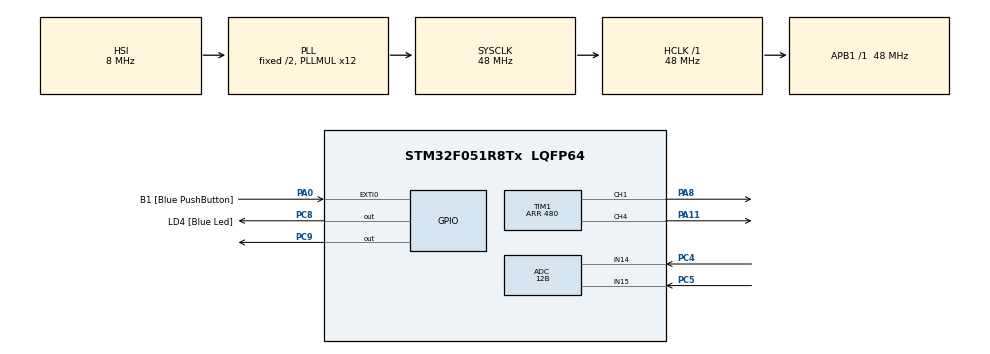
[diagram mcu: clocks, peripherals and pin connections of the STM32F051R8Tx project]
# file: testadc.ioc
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ADC.ClockPrescaler=ADC_CLOCK_ASYNC_DIV1
ADC.ContinuousConvMode=DISABLE
ADC.DMAContinuousRequests=DISABLE
ADC.DataAlign=ADC_DATAALIGN_RIGHT
ADC.DiscontinuousConvMode=ENABLE
ADC.EOCSelection=ADC_EOC_SINGLE_CONV
ADC.EnableAnalogWatchDog=false
ADC.ExternalTrigConv=ADC_EXTERNALTRIGCONV_T1_TRGO
ADC.ExternalTrigConvEdge=ADC_EXTERNALTRIGCONVEDGE_RISING
ADC.LowPowerAutoPowerOff=DISABLE
ADC.LowPowerAutoWait=DISABLE
ADC.Overrun=ADC_OVR_DATA_PRESERVED
ADC.Resolution=ADC_RESOLUTION_12B
ADC.SamplingTime=ADC_SAMPLETIME_239CYCLES_5
ADC.ScanConvMode=ADC_SCAN_DIRECTION_FORWARD
Mcu.Family=STM32F0
Mcu.Name=STM32F051R8Tx
Mcu.Package=LQFP64
NVIC.ADC1_COMP_IRQn=true\:0\:0\:false\:false\:true\:true
NVIC.TIM1_CC_IRQn=true\:0\:0\:false\:false\:true\:true
PA0.GPIO_Label=B1 [Blue PushButton]
PA0.GPIO_ModeDefaultEXTI=GPIO_MODE_EVT_RISING
PA0.Signal=GPXTI0
PA11.Signal=S_TIM1_CH4
PA13.GPIO_Label=SWDIO
PA13.Mode=Serial_Wire
PA13.Signal=SYS_SWDIO
PA14.GPIO_Label=SWCLK
PA14.Mode=Serial_Wire
PA14.Signal=SYS_SWCLK
PA8.Signal=S_TIM1_CH1
PC4.Mode=IN14
PC4.Signal=ADC_IN14
PC5.Mode=IN15
PC5.Signal=ADC_IN15
PC8.GPIO_Label=LD4 [Blue Led]
PC8.Signal=GPIO_Output
PC9.Signal=GPIO_Output
ProjectManager.HeapSize=0x200
ProjectManager.StackSize=0x400
ProjectManager.TargetToolchain=SW4STM32
RCC.AHBFreq_Value=48000000
RCC.APB1Freq_Value=48000000
RCC.APB1TimFreq_Value=48000000
RCC.HCLKFreq_Value=48000000
RCC.PLLMUL=RCC_PLL_MUL12
RCC.SYSCLKFreq_VALUE=48000000
RCC.SYSCLKSource=RCC_SYSCLKSOURCE_PLLCLK
SH.S_TIM1_CH1.0=TIM1_CH1,PWM Generation1 CH1
SH.S_TIM1_CH4.0=TIM1_CH4,Output Compare4 CH4
TIM1.Channel-Output\ Compare4\ CH4=TIM_CHANNEL_4
TIM1.Channel-PWM\ Generation1\ CH1=TIM_CHANNEL_1
TIM1.OCMode_4=TIM_OCMODE_TOGGLE
TIM1.OCPolarity_4=TIM_OCPOLARITY_LOW
TIM1.Period=480
TIM1.Pulse-Output\ Compare4\ CH4=1000
TIM1.TIM_MasterOutputTrigger=TIM_TRGO_OC4REF
TIM2.Period=480
TIM2.TIM_MasterOutputTrigger=TIM_TRGO_UPDATE
TIM2.TIM_MasterSlaveMode=TIM_MASTERSLAVEMODE_ENABLE
VP_TIM1_VS_ClockSourceINT.Mode=Internal
VP_TIM2_VS_ClockSourceINT.Mode=Internal
board=STM32F0DISCOVERY

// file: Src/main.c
/**
  ******************************************************************************
  * @file           : main.c
  * @brief          : Main program body
  ******************************************************************************
  ** This notice applies to any and all portions of this file
  * that are not between comment pairs USER CODE BEGIN and
  * USER CODE END. Other portions of this file, whether
  * inserted by the user or by software development tools
  * are owned by their respective copyright owners.
  *
  * COPYRIGHT(c) 2018 STMicroelectronics
  *
  * Redistribution and use in source and binary forms, with or without modification,
  * are permitted provided that the following conditions are met:
  *   1. Redistributions of source code must retain the above copyright notice,
  *      this list of conditions and the following disclaimer.
  *   2. Redistributions in binary form must reproduce the above copyright notice,
  *      this list of conditions and the following disclaimer in the documentation
  *      and/or other materials provided with the distribution.
  *   3. Neither the name of STMicroelectronics nor the names of its contributors
  *      may be used to endorse or promote products derived from this software
  *      without specific prior written permission.
  *
  * THIS SOFTWARE IS PROVIDED BY THE COPYRIGHT HOLDERS AND CONTRIBUTORS "AS IS"
  * AND ANY EXPRESS OR IMPLIED WARRANTIES, INCLUDING, BUT NOT LIMITED TO, THE
  * IMPLIED WARRANTIES OF MERCHANTABILITY AND FITNESS FOR A PARTICULAR PURPOSE ARE
  * DISCLAIMED. IN NO EVENT SHALL THE COPYRIGHT HOLDER OR CONTRIBUTORS BE LIABLE
  * FOR ANY DIRECT, INDIRECT, INCIDENTAL, SPECIAL, EXEMPLARY, OR CONSEQUENTIAL
  * DAMAGES (INCLUDING, BUT NOT LIMITED TO, PROCUREMENT OF SUBSTITUTE GOODS OR
  * SERVICES; LOSS OF USE, DATA, OR PROFITS; OR BUSINESS INTERRUPTION) HOWEVER
  * CAUSED AND ON ANY THEORY OF LIABILITY, WHETHER IN CONTRACT, STRICT LIABILITY,
  * OR TORT (INCLUDING NEGLIGENCE OR OTHERWISE) ARISING IN ANY WAY OUT OF THE USE
  * OF THIS SOFTWARE, EVEN IF ADVISED OF THE POSSIBILITY OF SUCH DAMAGE.
  *
  ******************************************************************************
  */
#include "main.h"
#include "stm32f0xx_hal.h"

ADC_HandleTypeDef hadc;

TIM_HandleTypeDef htim1;
TIM_HandleTypeDef htim2;

/* USER CODE BEGIN PV */
/* Private variables ---------------------------------------------------------*/

uint16_t ADC_RAW[18];
uint8_t adcindex=0;
uint16_t duty=0;
/* USER CODE END PV */

void SystemClock_Config(void);
static void MX_GPIO_Init(void);
static void MX_ADC_Init(void);
static void MX_TIM2_Init(void);
static void MX_TIM1_Init(void);

void HAL_TIM_MspPostInit(TIM_HandleTypeDef *htim);

/* USER CODE BEGIN PFP */
/* Private function prototypes -----------------------------------------------*/

/* USER CODE END PFP */

/* USER CODE BEGIN 0 */

void HAL_ADC_ConvCpltCallback(ADC_HandleTypeDef* hadc)
{
	if(__HAL_ADC_GET_FLAG(hadc,ADC_FLAG_EOC))
	{
//		HAL_GPIO_TogglePin(GPIOC, GPIO_PIN_9);
		ADC_RAW[adcindex] = HAL_ADC_GetValue(hadc);
		adcindex++;
	}
	if(__HAL_ADC_GET_FLAG(hadc,ADC_FLAG_EOS))
	{
		adcindex=0;
	}
}

void HAL_TIM_PWM_PulseFinishedCallback(TIM_HandleTypeDef *htim)
{

}

void HAL_TIM_IC_CaptureCallback(TIM_HandleTypeDef *htim)
{
	HAL_GPIO_TogglePin(GPIOC, GPIO_PIN_9);
}
/* USER CODE END 0 */

int main(void)
{

  /* MCU Configuration----------------------------------------------------------*/

  /* Reset of all peripherals, Initializes the Flash interface and the Systick. */
  HAL_Init();

  /* Configure the system clock */
  SystemClock_Config();

  /* Initialize all configured peripherals */
  MX_GPIO_Init();
  MX_ADC_Init();
  MX_TIM2_Init();
  MX_TIM1_Init();
  /* USER CODE BEGIN 2 */
  HAL_TIM_Base_Start(&htim2);
  HAL_ADC_Start_IT(&hadc);
  HAL_TIM_PWM_Start(&htim1,TIM_CHANNEL_1);
  HAL_TIM_OC_Start_IT(&htim1,TIM_CHANNEL_4);
  __HAL_TIM_SET_COMPARE(&htim1,TIM_CHANNEL_1,10);
  __HAL_TIM_SET_COMPARE(&htim1,TIM_CHANNEL_4,1);
  duty=10;
  /* USER CODE END 2 */

  /* Infinite loop */
  /* USER CODE BEGIN WHILE */
  while (1)
  {
//	  HAL_ADC_Start_IT(&hadc);
  /* USER CODE END WHILE */

  }

}

void SystemClock_Config(void)
{

  RCC_OscInitTypeDef RCC_OscInitStruct;
  RCC_ClkInitTypeDef RCC_ClkInitStruct;

    /**Initializes the CPU, AHB and APB busses clocks
    */
  RCC_OscInitStruct.OscillatorType = RCC_OSCILLATORTYPE_HSI|RCC_OSCILLATORTYPE_HSI14;
  RCC_OscInitStruct.HSIState = RCC_HSI_ON;
  RCC_OscInitStruct.HSI14State = RCC_HSI14_ON;
  RCC_OscInitStruct.HSICalibrationValue = 16;
  RCC_OscInitStruct.HSI14CalibrationValue = 16;
  RCC_OscInitStruct.PLL.PLLState = RCC_PLL_ON;
  RCC_OscInitStruct.PLL.PLLSource = RCC_PLLSOURCE_HSI;
  RCC_OscInitStruct.PLL.PLLMUL = RCC_PLL_MUL12;
  RCC_OscInitStruct.PLL.PREDIV = RCC_PREDIV_DIV1;
  if (HAL_RCC_OscConfig(&RCC_OscInitStruct) != HAL_OK)
  {
    _Error_Handler(__FILE__, __LINE__);
  }

    /**Initializes the CPU, AHB and APB busses clocks
    */
  RCC_ClkInitStruct.ClockType = RCC_CLOCKTYPE_HCLK|RCC_CLOCKTYPE_SYSCLK
                              |RCC_CLOCKTYPE_PCLK1;
  RCC_ClkInitStruct.SYSCLKSource = RCC_SYSCLKSOURCE_PLLCLK;
  RCC_ClkInitStruct.AHBCLKDivider = RCC_SYSCLK_DIV1;
  RCC_ClkInitStruct.APB1CLKDivider = RCC_HCLK_DIV1;

  if (HAL_RCC_ClockConfig(&RCC_ClkInitStruct, FLASH_LATENCY_1) != HAL_OK)
  {
    _Error_Handler(__FILE__, __LINE__);
  }

    /**Configure the Systick interrupt time
    */
  HAL_SYSTICK_Config(HAL_RCC_GetHCLKFreq()/1000);

    /**Configure the Systick
    */
  HAL_SYSTICK_CLKSourceConfig(SYSTICK_CLKSOURCE_HCLK);

  /* SysTick_IRQn interrupt configuration */
  HAL_NVIC_SetPriority(SysTick_IRQn, 0, 0);
}

/* ADC init function */
static void MX_ADC_Init(void)
{

  ADC_ChannelConfTypeDef sConfig;

    /**Configure the global features of the ADC (Clock, Resolution, Data Alignment and number of conversion)
    */
  hadc.Instance = ADC1;
  hadc.Init.ClockPrescaler = ADC_CLOCK_ASYNC_DIV1;
  hadc.Init.Resolution = ADC_RESOLUTION_12B;
  hadc.Init.DataAlign = ADC_DATAALIGN_RIGHT;
  hadc.Init.ScanConvMode = ADC_SCAN_DIRECTION_FORWARD;
  hadc.Init.EOCSelection = ADC_EOC_SINGLE_CONV;
  hadc.Init.LowPowerAutoWait = DISABLE;
  hadc.Init.LowPowerAutoPowerOff = DISABLE;
  hadc.Init.ContinuousConvMode = DISABLE;
  hadc.Init.DiscontinuousConvMode = ENABLE;
  hadc.Init.ExternalTrigConv = ADC_EXTERNALTRIGCONV_T1_TRGO;
  hadc.Init.ExternalTrigConvEdge = ADC_EXTERNALTRIGCONVEDGE_RISING;
  hadc.Init.DMAContinuousRequests = DISABLE;
  hadc.Init.Overrun = ADC_OVR_DATA_PRESERVED;
  if (HAL_ADC_Init(&hadc) != HAL_OK)
  {
    _Error_Handler(__FILE__, __LINE__);
  }

    /**Configure for the selected ADC regular channel to be converted.
    */
  sConfig.Channel = ADC_CHANNEL_13;
  sConfig.Rank = ADC_RANK_CHANNEL_NUMBER;
  sConfig.SamplingTime = ADC_SAMPLETIME_239CYCLES_5;
  if (HAL_ADC_ConfigChannel(&hadc, &sConfig) != HAL_OK)
  {
    _Error_Handler(__FILE__, __LINE__);
  }

    /**Configure for the selected ADC regular channel to be converted.
    */
  sConfig.Channel = ADC_CHANNEL_14;
  if (HAL_ADC_ConfigChannel(&hadc, &sConfig) != HAL_OK)
  {
    _Error_Handler(__FILE__, __LINE__);
  }

    /**Configure for the selected ADC regular channel to be converted.
    */
  sConfig.Channel = ADC_CHANNEL_15;
  if (HAL_ADC_ConfigChannel(&hadc, &sConfig) != HAL_OK)
  {
    _Error_Handler(__FILE__, __LINE__);
  }

}

/* TIM1 init function */
static void MX_TIM1_Init(void)
{

  TIM_ClockConfigTypeDef sClockSourceConfig;
  TIM_MasterConfigTypeDef sMasterConfig;
  TIM_OC_InitTypeDef sConfigOC;
  TIM_BreakDeadTimeConfigTypeDef sBreakDeadTimeConfig;

  htim1.Instance = TIM1;
  htim1.Init.Prescaler = 0;
  htim1.Init.CounterMode = TIM_COUNTERMODE_UP;
  htim1.Init.Period = 480;
  htim1.Init.ClockDivision = TIM_CLOCKDIVISION_DIV1;
  htim1.Init.RepetitionCounter = 0;
  htim1.Init.AutoReloadPreload = TIM_AUTORELOAD_PRELOAD_DISABLE;
  if (HAL_TIM_Base_Init(&htim1) != HAL_OK)
  {
    _Error_Handler(__FILE__, __LINE__);
  }

  sClockSourceConfig.ClockSource = TIM_CLOCKSOURCE_INTERNAL;
  if (HAL_TIM_ConfigClockSource(&htim1, &sClockSourceConfig) != HAL_OK)
  {
    _Error_Handler(__FILE__, __LINE__);
  }

  if (HAL_TIM_PWM_Init(&htim1) != HAL_OK)
  {
    _Error_Handler(__FILE__, __LINE__);
  }

  if (HAL_TIM_OC_Init(&htim1) != HAL_OK)
  {
    _Error_Handler(__FILE__, __LINE__);
  }

  sMasterConfig.MasterOutputTrigger = TIM_TRGO_OC4REF;
  sMasterConfig.MasterSlaveMode = TIM_MASTERSLAVEMODE_DISABLE;
  if (HAL_TIMEx_MasterConfigSynchronization(&htim1, &sMasterConfig) != HAL_OK)
  {
    _Error_Handler(__FILE__, __LINE__);
  }

  sConfigOC.OCMode = TIM_OCMODE_PWM1;
  sConfigOC.Pulse = 0;
  sConfigOC.OCPolarity = TIM_OCPOLARITY_HIGH;
  sConfigOC.OCNPolarity = TIM_OCNPOLARITY_HIGH;
  sConfigOC.OCFastMode = TIM_OCFAST_DISABLE;
  sConfigOC.OCIdleState = TIM_OCIDLESTATE_RESET;
  sConfigOC.OCNIdleState = TIM_OCNIDLESTATE_RESET;
  if (HAL_TIM_PWM_ConfigChannel(&htim1, &sConfigOC, TIM_CHANNEL_1) != HAL_OK)
  {
    _Error_Handler(__FILE__, __LINE__);
  }

  sConfigOC.OCMode = TIM_OCMODE_TOGGLE;
  sConfigOC.Pulse = 1000;
  sConfigOC.OCPolarity = TIM_OCPOLARITY_LOW;
  if (HAL_TIM_OC_ConfigChannel(&htim1, &sConfigOC, TIM_CHANNEL_4) != HAL_OK)
  {
    _Error_Handler(__FILE__, __LINE__);
  }

  sBreakDeadTimeConfig.OffStateRunMode = TIM_OSSR_DISABLE;
  sBreakDeadTimeConfig.OffStateIDLEMode = TIM_OSSI_DISABLE;
  sBreakDeadTimeConfig.LockLevel = TIM_LOCKLEVEL_OFF;
  sBreakDeadTimeConfig.DeadTime = 0;
  sBreakDeadTimeConfig.BreakState = TIM_BREAK_DISABLE;
  sBreakDeadTimeConfig.BreakPolarity = TIM_BREAKPOLARITY_HIGH;
  sBreakDeadTimeConfig.AutomaticOutput = TIM_AUTOMATICOUTPUT_DISABLE;
  if (HAL_TIMEx_ConfigBreakDeadTime(&htim1, &sBreakDeadTimeConfig) != HAL_OK)
  {
    _Error_Handler(__FILE__, __LINE__);
  }

  HAL_TIM_MspPostInit(&htim1);

}

/* TIM2 init function */
static void MX_TIM2_Init(void)
{

  TIM_ClockConfigTypeDef sClockSourceConfig;
  TIM_MasterConfigTypeDef sMasterConfig;

  htim2.Instance = TIM2;
  htim2.Init.Prescaler = 0;
  htim2.Init.CounterMode = TIM_COUNTERMODE_UP;
  htim2.Init.Period = 480;
  htim2.Init.ClockDivision = TIM_CLOCKDIVISION_DIV1;
  htim2.Init.AutoReloadPreload = TIM_AUTORELOAD_PRELOAD_DISABLE;
  if (HAL_TIM_Base_Init(&htim2) != HAL_OK)
  {
    _Error_Handler(__FILE__, __LINE__);
  }

  sClockSourceConfig.ClockSource = TIM_CLOCKSOURCE_INTERNAL;
  if (HAL_TIM_ConfigClockSource(&htim2, &sClockSourceConfig) != HAL_OK)
  {
    _Error_Handler(__FILE__, __LINE__);
  }

  sMasterConfig.MasterOutputTrigger = TIM_TRGO_UPDATE;
  sMasterConfig.MasterSlaveMode = TIM_MASTERSLAVEMODE_ENABLE;
  if (HAL_TIMEx_MasterConfigSynchronization(&htim2, &sMasterConfig) != HAL_OK)
  {
    _Error_Handler(__FILE__, __LINE__);
  }

}

/** Configure pins as
        * Analog
        * Input
        * Output
        * EVENT_OUT
        * EXTI
*/
static void MX_GPIO_Init(void)
{

  GPIO_InitTypeDef GPIO_InitStruct;

  /* GPIO Ports Clock Enable */
  __HAL_RCC_GPIOA_CLK_ENABLE();
  __HAL_RCC_GPIOC_CLK_ENABLE();

  /*Configure GPIO pin Output Level */
  HAL_GPIO_WritePin(GPIOC, LD4_Pin|GPIO_PIN_9, GPIO_PIN_RESET);

  /*Configure GPIO pin : B1_Pin */
  GPIO_InitStruct.Pin = B1_Pin;
  GPIO_InitStruct.Mode = GPIO_MODE_EVT_RISING;
  GPIO_InitStruct.Pull = GPIO_NOPULL;
  HAL_GPIO_Init(B1_GPIO_Port, &GPIO_InitStruct);

  /*Configure GPIO pins : LD4_Pin PC9 */
  GPIO_InitStruct.Pin = LD4_Pin|GPIO_PIN_9;
  GPIO_InitStruct.Mode = GPIO_MODE_OUTPUT_PP;
  GPIO_InitStruct.Pull = GPIO_NOPULL;
  GPIO_InitStruct.Speed = GPIO_SPEED_FREQ_LOW;
  HAL_GPIO_Init(GPIOC, &GPIO_InitStruct);

}

void _Error_Handler(char *file, int line)
{
  while(1)
  {
  }
}

/************************ (C) COPYRIGHT STMicroelectronics *****END OF FILE****/
